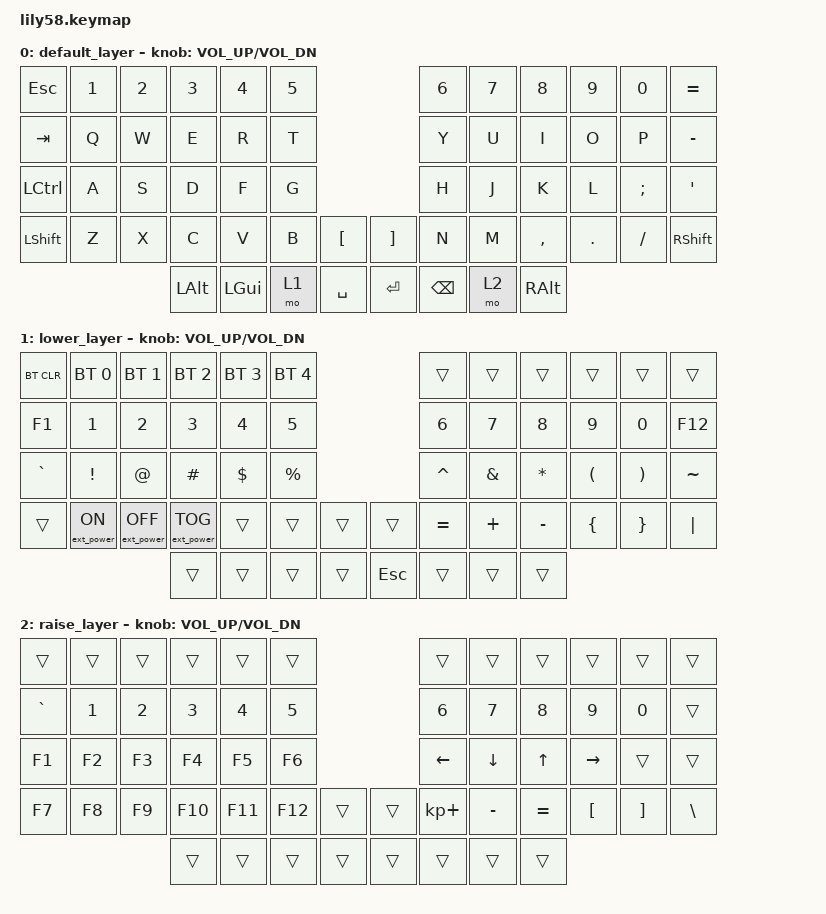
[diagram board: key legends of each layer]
/*
 * Copyright (c) 2020 The ZMK Contributors
 *
 * SPDX-License-Identifier: MIT
 */

#include <behaviors.dtsi>
#include <dt-bindings/zmk/bt.h>
#include <dt-bindings/zmk/ext_power.h>
#include <dt-bindings/zmk/keys.h>

/ {
    keymap {
        compatible = "zmk,keymap";

        default_layer {
            bindings = <
&kp ESC    &kp N1  &kp N2  &kp N3    &kp N4    &kp N5                          &kp N6          &kp N7  &kp N8     &kp N9   &kp N0    &kp EQUAL
&kp TAB    &kp Q   &kp W   &kp E     &kp R     &kp T                           &kp Y           &kp U   &kp I      &kp O    &kp P     &kp MINUS
&kp LCTRL  &kp A   &kp S   &kp D     &kp F     &kp G                           &kp H           &kp J   &kp K      &kp L    &kp SEMI  &kp SQT
&kp LSHFT  &kp Z   &kp X   &kp C     &kp V     &kp B     &kp LBKT    &kp RBKT  &kp N           &kp M   &kp COMMA  &kp DOT  &kp FSLH  &kp RSHFT
                           &kp LALT  &kp LGUI  &mo 1     &kp SPACE   &kp RET   &kp BACKSPACE   &mo 2   &kp RALT
            >;

            sensor-bindings = <&inc_dec_kp C_VOL_UP C_VOL_DN>;
        };

        lower_layer {
            bindings = <
&bt BT_CLR  &bt BT_SEL 0      &bt BT_SEL 1       &bt BT_SEL 2       &bt BT_SEL 3  &bt BT_SEL 4                  &trans        &trans    &trans     &trans    &trans    &trans
&kp F1      &kp N1            &kp N2             &kp N3             &kp N4        &kp N5                        &kp N6        &kp N7    &kp N8     &kp N9    &kp N0    &kp F12
&kp GRAVE   &kp EXCL          &kp AT             &kp HASH           &kp DOLLAR    &kp PRCNT                     &kp CARET     &kp AMPS  &kp ASTRK  &kp LPAR  &kp RPAR  &kp TILDE
&trans      &ext_power EP_ON  &ext_power EP_OFF  &ext_power EP_TOG  &trans        &trans        &trans  &trans  &kp EQUAL     &kp PLUS  &kp MINUS  &kp LBRC  &kp RBRC  &kp PIPE
                                                 &trans             &trans        &trans        &trans  &kp ESC &trans        &trans    &trans
            >;

            sensor-bindings = <&inc_dec_kp C_VOL_UP C_VOL_DN>;
        };

        raise_layer {
            bindings = <
&trans     &trans  &trans  &trans   &trans   &trans                     &trans          &trans    &trans        &trans     &trans    &trans
&kp GRAVE  &kp N1  &kp N2  &kp N3   &kp N4   &kp N5                     &kp N6          &kp N7    &kp N8        &kp N9     &kp N0    &trans
&kp F1     &kp F2  &kp F3  &kp F4   &kp F5   &kp F6                     &kp LEFT_ARROW  &kp DOWN  &kp UP_ARROW  &kp RIGHT  &trans    &trans
&kp F7     &kp F8  &kp F9  &kp F10  &kp F11  &kp F12  &trans    &trans  &kp KP_PLUS     &kp MINUS &kp EQUAL     &kp LBKT   &kp RBKT  &kp BSLH
                           &trans   &trans   &trans   &trans    &trans  &trans          &trans    &trans
            >;

            sensor-bindings = <&inc_dec_kp C_VOL_UP C_VOL_DN>;
        };
    };
};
